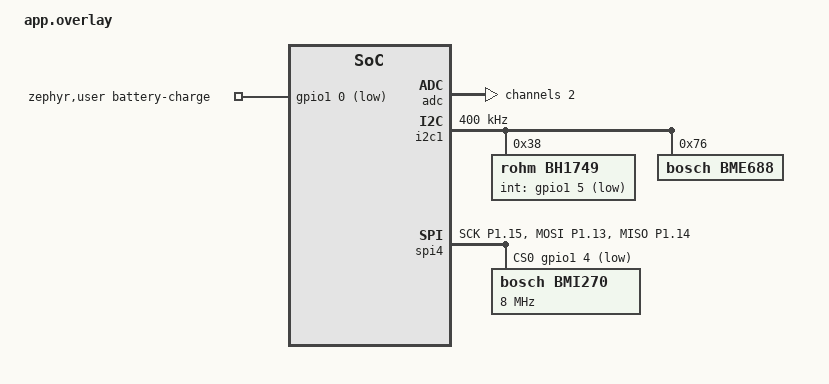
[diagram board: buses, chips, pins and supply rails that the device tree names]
/* SPDX-License-Identifier: LicenseRef-Nordic-5-Clause */
#include <dt-bindings/gpio/gpio.h>
#include <dt-bindings/spi/spi.h>
#include <dt-bindings/pinctrl/nrf-pinctrl.h>

/ {
    aliases {
        battery-charge = &battery_charge_gpio;
    };
    
    /* Nœud zephyr,user pour définir les GPIO utilisateur */
    zephyr,user {
        battery-charge-gpios = <&gpio1 0 (GPIO_PULL_UP | GPIO_ACTIVE_LOW)>;
    };
    
    /* Simple GPIO definition for battery charge detection */
    battery_charge_gpio: battery-charge-gpio {
        compatible = "gpio-leds";
        gpios = <&gpio1 0 (GPIO_PULL_UP | GPIO_ACTIVE_LOW)>;
        label = "Battery charge detection";
    };
};

/* ADC configuration */
&adc {
    #address-cells = <1>;
    #size-cells = <0>;
    channel@2 {
        reg = <2>;
        zephyr,gain = "ADC_GAIN_1";
        zephyr,reference = "ADC_REF_INTERNAL";
        zephyr,acquisition-time = <40>; /* Acquisition time in microseconds */
        zephyr,input-positive = <2>;    /* NRF_SAADC_AIN2 */
        zephyr,resolution = <12>;
        zephyr,oversampling = <4>;
    };
};

/* I2C bus with BH1749 and BME688 */
&i2c1 {
    status = "okay";
    clock-frequency = <I2C_BITRATE_FAST>;
    
    bh1749@38 {
        compatible = "rohm,bh1749";
        reg = <0x38>;
        int-gpios = <&gpio1 5 (GPIO_PULL_UP | GPIO_ACTIVE_LOW)>;
    };
    
    bme688@76 {
        compatible = "bosch,bme688";
        reg = <0x76>;
    };
};

/* Pinctrl for SPI4 */
&pinctrl {
    spi4_default: spi4_default {
        group1 {
            psels = <NRF_PSEL(SPIM_SCK, 1, 15)>,
                    <NRF_PSEL(SPIM_MOSI, 1, 13)>,
                    <NRF_PSEL(SPIM_MISO, 1, 14)>;
        };
    };
    
    spi4_sleep: spi4_sleep {
        group1 {
            psels = <NRF_PSEL(SPIM_SCK, 1, 15)>,
                    <NRF_PSEL(SPIM_MOSI, 1, 13)>,
                    <NRF_PSEL(SPIM_MISO, 1, 14)>;
            low-power-enable;
        };
    };
};

/* SPI4 setup with BMI270 as a child node */
&spi4 {
    status = "okay";
    pinctrl-0 = <&spi4_default>;
    pinctrl-1 = <&spi4_sleep>;
    pinctrl-names = "default", "sleep";
    cs-gpios = <&gpio1 4 GPIO_ACTIVE_LOW>;
    
    /* Workaround node for spi_fwd if needed elsewhere */
    spi_fwd: spi_fwd@0 {
        status = "disabled";
        reg = <0>;
    };
    
    bmi270@0 {
        compatible = "bosch,bmi270";
        reg = <0>;
        status = "okay";
        spi-max-frequency = <8000000>;
        /* Uncomment if using INT pin:
         * int-gpios = <&gpio1 6 (GPIO_PULL_UP | GPIO_ACTIVE_LOW)>;
         */
    };
};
